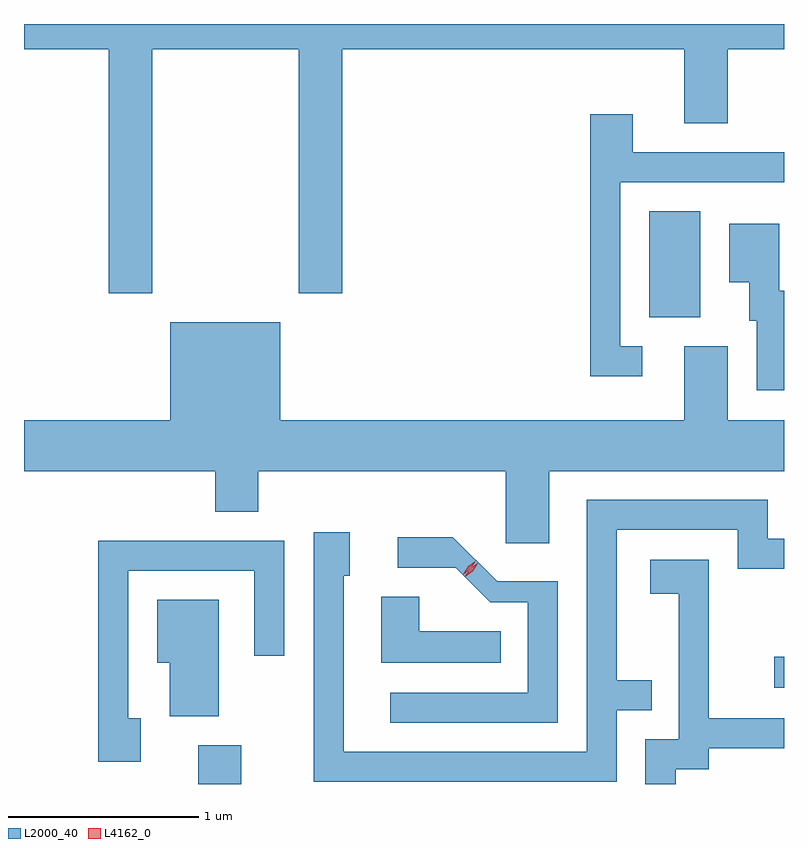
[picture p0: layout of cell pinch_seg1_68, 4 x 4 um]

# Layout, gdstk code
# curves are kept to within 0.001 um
import gdstk
lib = gdstk.Library(unit=1e-6, precision=1e-09)
def R(c, l, rs):  # rectangles x0, y0, x1, y1
    for r in rs: c.add(gdstk.rectangle(r[:2], r[2:], *l))
def P(c, l, *ps):  # polygons
    for p in ps: c.add(gdstk.Polygon(p, *l))
L2000_40 = (2000, 40)
L4162_0 = (4162, 0)

pinch_seg1_68 = lib.new_cell('pinch_seg1_68')
R(pinch_seg1_68, L2000_40, [(209.151,866.849,209.379,867.054), (212.183,867.356,212.235,867.519), (211.526,869.306,211.794,869.864)])
P(pinch_seg1_68, L2000_40, [(208.909,870.716),(209.681,870.716),(209.681,869.431),(209.909,869.431),(209.909,870.716),(211.711,870.716),(211.711,870.326),(211.939,870.326),(211.939,870.716),(212.235,870.716),(212.235,870.849),(208.235,870.849),(208.235,870.716),(208.681,870.716),(208.681,869.431),(208.909,869.431)],
  [(211.488,869.154),(211.374,869.154),(211.374,870.016),(212.235,870.016),(212.235,870.174),(211.439,870.174),(211.439,870.374),(211.216,870.374),(211.216,868.996),(211.488,868.996)],
  [(212.235,869.444),(212.209,869.444),(212.209,869.799),(211.946,869.799),(211.946,869.491),(212.051,869.491),(212.051,869.286),(212.091,869.286),(212.091,868.921),(212.235,868.921)],
  [(210.999,868.496),(212.235,868.496),(212.235,868.764),(211.939,868.764),(211.939,869.154),(211.711,869.154),(211.711,868.764),(209.584,868.764),(209.584,869.279),(209.006,869.279),(209.006,868.764),(208.235,868.764),(208.235,868.496),(209.241,868.496),(209.241,868.281),(209.469,868.281),(209.469,868.496),(210.771,868.496),(210.771,868.116),(210.999,868.116)],
  [(211.354,867.236),(211.538,867.236),(211.538,867.394),(211.354,867.394),(211.354,868.186),(211.991,868.186),(211.991,867.981),(212.235,867.981),(212.235,868.139),(212.149,868.139),(212.149,868.344),(211.196,868.344),(211.196,867.019),(209.919,867.019),(209.919,867.946),(209.949,867.946),(209.949,868.174),(209.761,868.174),(209.761,866.861),(211.354,866.861)],
  [(211.044,867.916),(210.726,867.915),(210.492,868.149),(210.203,868.149),(210.203,867.988),(210.508,867.988),(210.69,867.806),(210.886,867.806),(210.886,867.329),(210.163,867.329),(210.163,867.171),(211.044,867.171)],
  [(208.849,867.194),(208.784,867.194),(208.784,867.971),(209.446,867.971),(209.446,867.523),(209.604,867.523),(209.604,868.129),(208.626,868.129),(208.626,866.966),(208.849,866.966)],
  [(211.664,866.926),(211.839,866.926),(211.839,867.036),(212.235,867.036),(212.235,867.194),(211.839,867.194),(211.839,868.029),(211.531,868.029),(211.531,867.851),(211.681,867.851),(211.681,867.084),(211.506,867.084),(211.506,866.849),(211.664,866.849)],
  [(210.743,867.654),(210.314,867.654),(210.314,867.834),(210.116,867.834),(210.116,867.486),(210.743,867.486)],
  [(209.259,867.819),(208.936,867.819),(208.936,867.486),(209.001,867.486),(209.001,867.206),(209.259,867.206)])
P(pinch_seg1_68, L4162_0, [(210.556,867.939),(210.556,867.94),(210.584,867.983),(210.625,868.013),(210.626,868.013),(210.626,868.013),(210.598,867.969),(210.557,867.939)],
  [(210.548,867.954),(210.548,867.954),(210.572,867.994),(210.609,868.021),(210.609,868.021),(210.609,868.02),(210.586,867.981),(210.549,867.954)])

lib.write_gds('pinch_seg1_68.gds')
